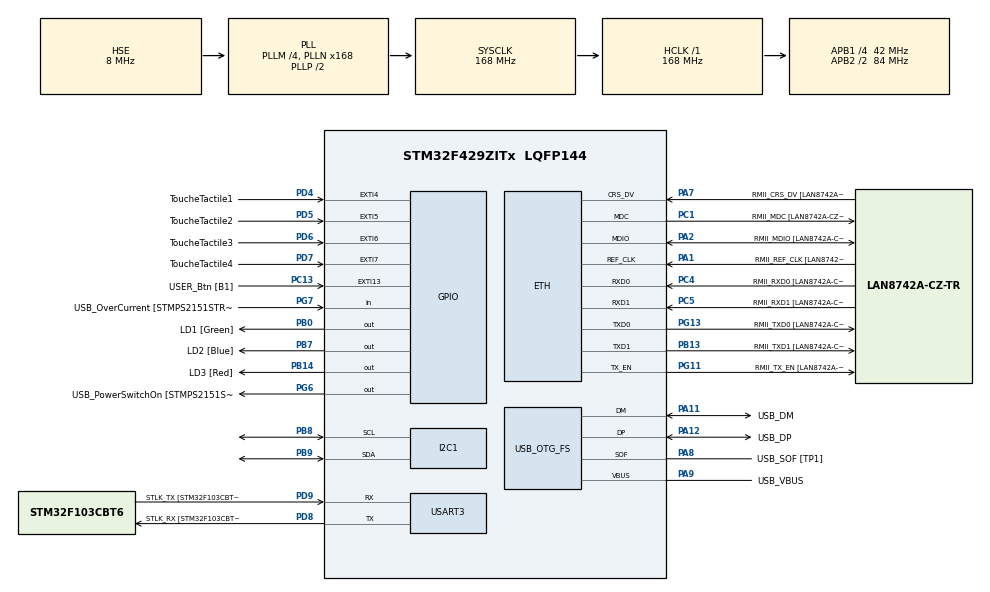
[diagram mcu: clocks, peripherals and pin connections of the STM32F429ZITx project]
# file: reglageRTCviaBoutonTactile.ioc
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ETH.MediaInterface=ETH_MEDIA_INTERFACE_RMII
ETH.PHY_Name=LAN8742A_PHY_ADDRESS
ETH.PHY_Value=0
ETH.PhyAddress=0
FREERTOS.Tasks01=defaultTask,0,128,StartDefaultTask,Default,NULL,Dynamic,NULL,NULL;MyTaskMode,0,128,TaskMode,Default,NULL,Dynamic,NULL,NULL;myTaskChamps,0,128,TaskChamps,Default,NULL,Dynamic,NULL,NULL;myTaskSensRegla,0,128,TaskSensReglage,Default,NULL,Dynamic,NULL,NULL;myTaskValeurSui,0,128,TaskValeurSuivante,Default,NULL,Dynamic,NULL,NULL;myTaskRTCaffich,0,128,TaskRTCaffichage,Default,NULL,Dynamic,NULL,NULL
Mcu.Family=STM32F4
Mcu.Name=STM32F429ZITx
Mcu.Package=LQFP144
NVIC.PriorityGroup=NVIC_PRIORITYGROUP_4
NVIC.TIM8_UP_TIM13_IRQn=true\:0\:0\:false\:false\:true\:false\:false\:true
NVIC.TimeBase=TIM8_UP_TIM13_IRQn
NVIC.TimeBaseIP=TIM8
PA1.GPIO_Label=RMII_REF_CLK [LAN8742A-CZ-TR_REFCLK0]
PA1.Mode=RMII
PA1.Signal=ETH_REF_CLK
PA10.GPIO_Label=USB_ID
PA10.Signal=USB_OTG_FS_ID
PA11.GPIO_Label=USB_DM
PA11.Mode=Device_Only
PA11.Signal=USB_OTG_FS_DM
PA12.GPIO_Label=USB_DP
PA12.Mode=Device_Only
PA12.Signal=USB_OTG_FS_DP
PA13.GPIO_Label=TMS
PA13.Mode=Serial_Wire
PA13.Signal=SYS_JTMS-SWDIO
PA14.GPIO_Label=TCK
PA14.Mode=Serial_Wire
PA14.Signal=SYS_JTCK-SWCLK
PA2.GPIO_Label=RMII_MDIO [LAN8742A-CZ-TR_MDIO]
PA2.Mode=RMII
PA2.Signal=ETH_MDIO
PA7.GPIO_Label=RMII_CRS_DV [LAN8742A-CZ-TR_CRS_DV]
PA7.Mode=RMII
PA7.Signal=ETH_CRS_DV
PA8.GPIO_Label=USB_SOF [TP1]
PA8.Mode=Activate_SOF_FS
PA8.Signal=USB_OTG_FS_SOF
PA9.GPIO_Label=USB_VBUS
PA9.Mode=Activate_VBUS
PA9.Signal=USB_OTG_FS_VBUS
PB0.GPIO_Label=LD1 [Green]
PB0.Signal=GPIO_Output
PB13.GPIO_Label=RMII_TXD1 [LAN8742A-CZ-TR_TXD1]
PB13.Mode=RMII
PB13.Signal=ETH_TXD1
PB14.GPIO_Label=LD3 [Red]
PB14.Signal=GPIO_Output
PB7.GPIO_Label=LD2 [Blue]
PB7.Signal=GPIO_Output
PB8.Mode=I2C
PB8.Signal=I2C1_SCL
PB9.Mode=I2C
PB9.Signal=I2C1_SDA
PC1.GPIO_Label=RMII_MDC [LAN8742A-CZ-TR_MDC]
PC1.Mode=RMII
PC1.Signal=ETH_MDC
PC13.GPIO_Label=USER_Btn [B1]
PC13.Signal=GPXTI13
PC14/OSC32_IN.Mode=LSE-External-Oscillator
PC14/OSC32_IN.Signal=RCC_OSC32_IN
PC15/OSC32_OUT.Mode=LSE-External-Oscillator
PC15/OSC32_OUT.Signal=RCC_OSC32_OUT
PC4.GPIO_Label=RMII_RXD0 [LAN8742A-CZ-TR_RXD0]
PC4.Mode=RMII
PC4.Signal=ETH_RXD0
PC5.GPIO_Label=RMII_RXD1 [LAN8742A-CZ-TR_RXD1]
PC5.Mode=RMII
PC5.Signal=ETH_RXD1
PD4.GPIO_Label=ToucheTactile1
PD4.Signal=GPXTI4
PD5.GPIO_Label=ToucheTactile2
PD5.Signal=GPXTI5
PD6.GPIO_Label=ToucheTactile3
PD6.Signal=GPXTI6
PD7.GPIO_Label=ToucheTactile4
PD7.Signal=GPXTI7
PD8.GPIO_Label=STLK_RX [STM32F103CBT6_PA3]
PD8.Mode=Asynchronous
PD8.Signal=USART3_TX
PD9.GPIO_Label=STLK_TX [STM32F103CBT6_PA2]
PD9.Mode=Asynchronous
PD9.Signal=USART3_RX
PG11.GPIO_Label=RMII_TX_EN [LAN8742A-CZ-TR_TXEN]
PG11.Mode=RMII
PG11.Signal=ETH_TX_EN
PG13.GPIO_Label=RMII_TXD0 [LAN8742A-CZ-TR_TXD0]
PG13.Mode=RMII
PG13.Signal=ETH_TXD0
PG6.GPIO_Label=USB_PowerSwitchOn [STMPS2151STR_EN]
PG6.Signal=GPIO_Output
PG7.GPIO_Label=USB_OverCurrent [STMPS2151STR_FAULT]
PG7.Signal=GPIO_Input
PH0/OSC_IN.GPIO_Label=MCO [STM32F103CBT6_PA8]
PH0/OSC_IN.Mode=HSE-External-Clock-Source
PH0/OSC_IN.Signal=RCC_OSC_IN
PH1/OSC_OUT.Mode=HSE-External-Clock-Source
PH1/OSC_OUT.Signal=RCC_OSC_OUT
ProjectManager.HeapSize=0x200
ProjectManager.StackSize=0x400
ProjectManager.TargetToolchain=TrueSTUDIO
RCC.48MHZClocksFreq_Value=48000000
RCC.AHBFreq_Value=168000000
RCC.APB1CLKDivider=RCC_HCLK_DIV4
RCC.APB1Freq_Value=42000000
RCC.APB1TimFreq_Value=84000000
RCC.APB2CLKDivider=RCC_HCLK_DIV2
RCC.APB2Freq_Value=84000000
RCC.APB2TimCLKDivider=2
RCC.APB2TimFreq_Value=168000000
RCC.CortexFreq_Value=168000000
RCC.HCLKFreq_Value=168000000
RCC.HSE_VALUE=8000000
RCC.HSI_VALUE=16000000
RCC.PLLM=4
RCC.PLLMUL=RCC_PLL_MUL9
RCC.PLLN=168
RCC.PLLQ=7
RCC.PRESCALERUSB=RCC_USBCLKSOURCE_PLL_DIV1_5
RCC.SYSCLKFreq_VALUE=168000000
RCC.SYSCLKSource=RCC_SYSCLKSOURCE_PLLCLK
RCC.SYSCLKSourceVirtual=RCC_SYSCLKSOURCE_PLLCLK
RCC.USBFreq_Value=48000000
RCC.VCOOutputFreq_Value=336000000
USART3.VirtualMode=VM_ASYNC
USB_OTG_FS.VirtualMode=Device_Only
VP_FREERTOS_VS_CMSIS_V1.Mode=CMSIS_V1
VP_SYS_VS_tim8.Mode=TIM8
board=NUCLEO-F429ZI

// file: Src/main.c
/* USER CODE BEGIN Header */
/**
  ******************************************************************************
  * @file           : main.c
  * @brief          : Main program body
  ******************************************************************************
  * @attention
  *
  * <h2><center>&copy; Copyright (c) 2019 STMicroelectronics.
  * All rights reserved.</center></h2>
  *
  * This software component is licensed by ST under Ultimate Liberty license
  * SLA0044, the "License"; You may not use this file except in compliance with
  * the License. You may obtain a copy of the License at:
  *                             www.st.com/SLA0044
  *
  ******************************************************************************
  */
/* USER CODE END Header */

#include "main.h"
#include "cmsis_os.h"
#include "eth.h"
#include "i2c.h"
#include "usart.h"
#include "usb_otg.h"
#include "gpio.h"

void SystemClock_Config(void);
void MX_FREERTOS_Init(void);

int main(void)
 {

  /* MCU Configuration--------------------------------------------------------*/

  /* Reset of all peripherals, Initializes the Flash interface and the Systick. */
  HAL_Init();

  /* Configure the system clock */
  SystemClock_Config();

  /* Initialize all configured peripherals */
  MX_GPIO_Init();
  MX_ETH_Init();
  MX_I2C1_Init();
  MX_USART3_UART_Init();
  MX_USB_OTG_FS_PCD_Init();

  /* Call init function for freertos objects (in freertos.c) */
  MX_FREERTOS_Init();

  /* Start scheduler */
  osKernelStart();

  /* We should never get here as control is now taken by the scheduler */

  /* Infinite loop */
  while (1)
  {

  }
}

void SystemClock_Config(void)
{
  RCC_OscInitTypeDef RCC_OscInitStruct = {0};
  RCC_ClkInitTypeDef RCC_ClkInitStruct = {0};

  /** Configure the main internal regulator output voltage
  */
  __HAL_RCC_PWR_CLK_ENABLE();
  __HAL_PWR_VOLTAGESCALING_CONFIG(PWR_REGULATOR_VOLTAGE_SCALE1);
  /** Initializes the CPU, AHB and APB busses clocks
  */
  RCC_OscInitStruct.OscillatorType = RCC_OSCILLATORTYPE_HSE;
  RCC_OscInitStruct.HSEState = RCC_HSE_BYPASS;
  RCC_OscInitStruct.PLL.PLLState = RCC_PLL_ON;
  RCC_OscInitStruct.PLL.PLLSource = RCC_PLLSOURCE_HSE;
  RCC_OscInitStruct.PLL.PLLM = 4;
  RCC_OscInitStruct.PLL.PLLN = 168;
  RCC_OscInitStruct.PLL.PLLP = RCC_PLLP_DIV2;
  RCC_OscInitStruct.PLL.PLLQ = 7;
  if (HAL_RCC_OscConfig(&RCC_OscInitStruct) != HAL_OK)
  {
    Error_Handler();
  }
  /** Initializes the CPU, AHB and APB busses clocks
  */
  RCC_ClkInitStruct.ClockType = RCC_CLOCKTYPE_HCLK|RCC_CLOCKTYPE_SYSCLK
                              |RCC_CLOCKTYPE_PCLK1|RCC_CLOCKTYPE_PCLK2;
  RCC_ClkInitStruct.SYSCLKSource = RCC_SYSCLKSOURCE_PLLCLK;
  RCC_ClkInitStruct.AHBCLKDivider = RCC_SYSCLK_DIV1;
  RCC_ClkInitStruct.APB1CLKDivider = RCC_HCLK_DIV4;
  RCC_ClkInitStruct.APB2CLKDivider = RCC_HCLK_DIV2;

  if (HAL_RCC_ClockConfig(&RCC_ClkInitStruct, FLASH_LATENCY_5) != HAL_OK)
  {
    Error_Handler();
  }
}

/* USER CODE BEGIN 4 */
int _write(int file, char *ptr, int len)
{
	int i=0;
	for(i=0 ; i<len ; i++)
		ITM_SendChar((*ptr++)); // out char to serial
	return len;
}

/* USER CODE END 4 */

void HAL_TIM_PeriodElapsedCallback(TIM_HandleTypeDef *htim)
{
  if (htim->Instance == TIM8) {
    HAL_IncTick();
  }
}

void Error_Handler(void)
{
}

/************************ (C) COPYRIGHT STMicroelectronics *****END OF FILE****/

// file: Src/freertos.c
/* USER CODE BEGIN Header */
/**
 ******************************************************************************
 * File Name          : freertos.c
 * Description        : Code for freertos applications
 ******************************************************************************
 * @attention
 *
 * <h2><center>&copy; Copyright (c) 2019 STMicroelectronics.
 * All rights reserved.</center></h2>
 *
 * This software component is licensed by ST under Ultimate Liberty license
 * SLA0044, the "License"; You may not use this file except in compliance with
 * the License. You may obtain  a copy of the License at:
 *                             www.st.com/SLA0044
 *
 ******************************************************************************
 */
/* USER CODE END Header */

#include "FreeRTOS.h"
#include "task.h"
#include "main.h"
#include "cmsis_os.h"

/* USER CODE BEGIN Includes */
#include "string.h"
#include "stdio.h"
#include "i2c.h"
#include "horodateur.h"

/* USER CODE END Includes */

/* USER CODE BEGIN PD */
#define MASQUE_CHBit 0b10000000
#define MASQUE_CHBit_0 0b01111111
#define MASQUE_UNITEES 0b00001111
#define MASQUE_DIZAINES 0b01110000
#define MASQUE_DIZAINES_JOUR 0b00110000
#define MASQUE_DIZAINES_MOIS 0b00010000
#define MASQUE_DIZAINES_ANNEE 0b11110000

/* USER CODE END PD */

/* USER CODE BEGIN Variables */
uint8_t transmission_I2C1[4];
uint8_t reception_I2C1[7];
uint8_t * p_transmission_I2C1 = transmission_I2C1;
uint8_t * p_reception_I2C1 = reception_I2C1;
extern int mode;
extern int sens;
extern int champ;
uint8_t valeur = 0;
int unite;
int dizaine;

/* USER CODE END Variables */
osThreadId defaultTaskHandle;
osThreadId MyTaskModeHandle;
osThreadId myTaskChampsHandle;
osThreadId myTaskSensReglaHandle;
osThreadId myTaskValeurSuiHandle;
osThreadId myTaskRTCaffichHandle;

void StartDefaultTask(void const * argument);
void TaskMode(void const * argument);
void TaskChamps(void const * argument);
void TaskSensReglage(void const * argument);
void TaskValeurSuivante(void const * argument);
void TaskRTCaffichage(void const * argument);

void MX_FREERTOS_Init(void); /* (MISRA C 2004 rule 8.1) */

/* GetIdleTaskMemory prototype (linked to static allocation support) */
void vApplicationGetIdleTaskMemory( StaticTask_t **ppxIdleTaskTCBBuffer, StackType_t **ppxIdleTaskStackBuffer, uint32_t *pulIdleTaskStackSize );

/* USER CODE BEGIN GET_IDLE_TASK_MEMORY */
static StaticTask_t xIdleTaskTCBBuffer;
static StackType_t xIdleStack[configMINIMAL_STACK_SIZE];

void vApplicationGetIdleTaskMemory( StaticTask_t **ppxIdleTaskTCBBuffer, StackType_t **ppxIdleTaskStackBuffer, uint32_t *pulIdleTaskStackSize )
{
	*ppxIdleTaskTCBBuffer = &xIdleTaskTCBBuffer;
	*ppxIdleTaskStackBuffer = &xIdleStack[0];
	*pulIdleTaskStackSize = configMINIMAL_STACK_SIZE;
	/* place for user code */
}
/* USER CODE END GET_IDLE_TASK_MEMORY */

void MX_FREERTOS_Init(void) {

	/* Create the thread(s) */
	/* definition and creation of defaultTask */
	osThreadDef(defaultTask, StartDefaultTask, osPriorityNormal, 0, 128);
	defaultTaskHandle = osThreadCreate(osThread(defaultTask), NULL);

	/* definition and creation of MyTaskMode */
	osThreadDef(MyTaskMode, TaskMode, osPriorityNormal, 0, 128);
	MyTaskModeHandle = osThreadCreate(osThread(MyTaskMode), NULL);

	/* definition and creation of myTaskChamps */
	osThreadDef(myTaskChamps, TaskChamps, osPriorityNormal, 0, 128);
	myTaskChampsHandle = osThreadCreate(osThread(myTaskChamps), NULL);

	/* definition and creation of myTaskSensRegla */
	osThreadDef(myTaskSensRegla, TaskSensReglage, osPriorityNormal, 0, 128);
	myTaskSensReglaHandle = osThreadCreate(osThread(myTaskSensRegla), NULL);

	/* definition and creation of myTaskValeurSui */
	osThreadDef(myTaskValeurSui, TaskValeurSuivante, osPriorityNormal, 0, 128);
	myTaskValeurSuiHandle = osThreadCreate(osThread(myTaskValeurSui), NULL);

	/* definition and creation of myTaskRTCaffich */
	osThreadDef(myTaskRTCaffich, TaskRTCaffichage, osPriorityNormal, 0, 128);
	myTaskRTCaffichHandle = osThreadCreate(osThread(myTaskRTCaffich), NULL);

}

void StartDefaultTask(void const * argument)
{

	/* USER CODE BEGIN StartDefaultTask */
	/* Infinite loop */
	for(;;)
	{
		osDelay(1000);
	}
	/* USER CODE END StartDefaultTask */
}

void TaskMode(void const * argument)
{
	/* USER CODE BEGIN TaskMode */
	/* Infinite loop */
	for(;;)
	{
		//le bouton tactile4 (MODE) est  activé
		if (HAL_GPIO_ReadPin(ToucheTactile4_GPIO_Port, ToucheTactile4_Pin) == 1)
		{
			Change_Mode();
		}

		osDelay(500);

	}
	/* USER CODE END TaskMode */
}

void TaskChamps(void const * argument)
{
	/* USER CODE BEGIN TaskChamps */
	/* Infinite loop */
	for(;;)
	{
		if (mode == REGLAGES)
		{
			//le bouton tactile3 (choix du champ) est  activé
			if (HAL_GPIO_ReadPin(ToucheTactile2_GPIO_Port, ToucheTactile2_Pin) == 1)
			{
				champ = Choix_Champ();
				valeur = receive_info_rtc(champ);
				//printf("valeur renvoyee : %d \n", valeur);
			}
		}
		osDelay(500);
	}
	/* USER CODE END TaskChamps */
}

void TaskSensReglage(void const * argument)
{
	/* USER CODE BEGIN TaskSensReglage */
	/* Infinite loop */
	for(;;)
	{
		if (mode == REGLAGES)
		{
			//le bouton tactile1 (sens reglage UP OU DOWN) est  activé
			if (HAL_GPIO_ReadPin(ToucheTactile1_GPIO_Port, ToucheTactile1_Pin) == 1)
			{
				sens = Choix_Sens();
			}
		}

		osDelay(500);
	}
	/* USER CODE END TaskSensReglage */
}

void TaskValeurSuivante(void const * argument)
{
	/* USER CODE BEGIN TaskValeurSuivante */
	/* Infinite loop */
	for(;;)
	{
		if (mode == REGLAGES)
		{
			//le USER BOUTON (reglage valeurs) est  activé
			if (HAL_GPIO_ReadPin(USER_Btn_GPIO_Port, USER_Btn_Pin) == 1)
			{
				uint8_t new_valeur = modifier_valeur_heure_courante(sens, valeur, champ);

				if (champ == SECONDES)
				{
					//calcul des secondes
					unite= new_valeur%10;
					dizaine = (new_valeur-unite)/10;
					printf("nouvelle valeur des secondes %d%d\n",dizaine, unite);
					new_valeur =  (dizaine<<4) + unite ;
					mise_a_jour_rtc( new_valeur, champ);
				}
				else if (champ == MINUTES)
				{
					//séparation de la nouvelle valeur en unité et dizaine
					unite = new_valeur%10;
					dizaine = (new_valeur-unite)/10;
					printf("nouvelle valeur des minutes %d%d\n",dizaine, unite);
					new_valeur =  (dizaine<<4) + unite ;
					mise_a_jour_rtc( new_valeur, champ);
				}
				else if (champ == HEURES)
				{
					unite = new_valeur%10;
					dizaine = (new_valeur-unite)/10;
					printf("nouvelle valeur des heures %d%d\n",dizaine, unite);
					new_valeur =  (dizaine<<4) + unite ;
					mise_a_jour_rtc( new_valeur, champ);
				}
				else if (champ == JOURS)
				{
					unite = new_valeur%10;
					dizaine = (new_valeur-unite)/10;
					printf("nouvelle valeur des jours %d%d\n",dizaine, unite);
					new_valeur =  (dizaine<<4) + unite ;
					mise_a_jour_rtc( new_valeur, champ);
				}
				else if (champ == MOIS)
				{
					unite = new_valeur%10;
					dizaine = (new_valeur-unite)/10;
					printf("nouvelle valeur des annees %d%d\n",dizaine, unite);
					new_valeur =  (dizaine<<4) + unite ;
					mise_a_jour_rtc( new_valeur, champ);
				}
				else if (champ == ANNEES)
				{
					unite = new_valeur%10;
					dizaine = (new_valeur-unite)/10;
					printf("nouvelle valeur %d%d\n",dizaine, unite);
					new_valeur =  (dizaine<<4) + unite ;
					mise_a_jour_rtc( new_valeur, champ);
				}

				valeur = receive_info_rtc(champ);
			}
		}

		osDelay(500);
	}
	/* USER CODE END TaskValeurSuivante */
}

void TaskRTCaffichage(void const * argument)
{
	/* USER CODE BEGIN TaskVariationLED */
	transmission_I2C1[0] = 0; //adresse des secondes dans la mémoire de la carte RTC

	//le programme récupère la valeur SECONDES de la RTC
	HAL_I2C_Master_Transmit(&hi2c1, (uint8_t)SLAVE_ADRESS, p_transmission_I2C1, (uint16_t)1, HAL_MAX_DELAY);
	HAL_I2C_Master_Receive(&hi2c1, (uint8_t)SLAVE_ADRESS, (uint8_t *)p_reception_I2C1, (uint16_t)1, HAL_MAX_DELAY);

	//le programme masque l'octet SECONDE envoyé à la RTC pour isoler la valeur du CH Bit
	uint8_t valeur_CH_Bit = (*p_reception_I2C1) & MASQUE_CHBit;

	//Si CHBit est égale à 1, la RTC est désactivé
	if (valeur_CH_Bit == MASQUE_CHBit)
	{
		//le programme active la RTC en passant CHBit à 0 sans écraser le reste et envoie l'info à la RTC
		transmission_I2C1[1] = (*p_reception_I2C1) & ( MASQUE_CHBit_0 );
		HAL_I2C_Master_Transmit(&hi2c1, (uint8_t)SLAVE_ADRESS, p_transmission_I2C1, (uint16_t)2, HAL_MAX_DELAY);
	}

	/* Infinite loop */
	for(;;)
	{

		if (mode == HORLOGE)
		{
			HAL_I2C_Master_Transmit(&hi2c1, (uint8_t)SLAVE_ADRESS, p_transmission_I2C1, (uint16_t)1, HAL_MAX_DELAY);
			HAL_I2C_Master_Receive(&hi2c1, (uint8_t)SLAVE_ADRESS, (uint8_t *)p_reception_I2C1, (uint16_t)7, HAL_MAX_DELAY);

			//calcul des secondes
			int unites_secondes = (*p_reception_I2C1) & (MASQUE_UNITEES);
			int dizaines_secondes = (*p_reception_I2C1 & (MASQUE_DIZAINES)) >> 4;
			int secondes = (dizaines_secondes * 10) + unites_secondes;

			//calcul des minutes
			int unites_minutes = (*(p_reception_I2C1+1))& (MASQUE_UNITEES);
			int dizaine_minutes =(*(p_reception_I2C1+1) & (MASQUE_DIZAINES)) >> 4;
			int minutes = dizaine_minutes * 10 + unites_minutes;

			//calcul des heures
			int unites_heure = (*(p_reception_I2C1+2))& (MASQUE_UNITEES);
			int dizaine_heure =(*(p_reception_I2C1+2) & (MASQUE_DIZAINES)) >> 4;
			int heure = dizaine_heure * 10 + unites_heure;

			//calcul des jours
			int unites_jours = (*(p_reception_I2C1+4) & (MASQUE_UNITEES));
			int dizaines_jours = (*(p_reception_I2C1+4) & (MASQUE_DIZAINES_JOUR)) >> 4;
			int jours = (dizaines_jours * 10) + unites_jours;

			//calcul des mois
			int unites_mois = (*(p_reception_I2C1+5))& (MASQUE_UNITEES);
			int dizaine_mois =(*(p_reception_I2C1+5) & (MASQUE_DIZAINES_MOIS)) >> 4;
			int mois = dizaine_mois * 10 + unites_mois;

			//calcul des années
			int unites_annees = (*(p_reception_I2C1+6))& (MASQUE_UNITEES);
			int dizaine_annees =(*(p_reception_I2C1+6) & (MASQUE_DIZAINES_ANNEE)) >> 4;
			int annees = dizaine_annees * 10 + unites_annees;

			printf("%d/%d/%d - %d h : %d min : %d sec \n",jours, mois, annees, heure, minutes ,secondes);
		}

		osDelay(1000);
	}
	/* USER CODE END TaskRTCaffichage */
}

/************************ (C) COPYRIGHT STMicroelectronics *****END OF FILE****/
